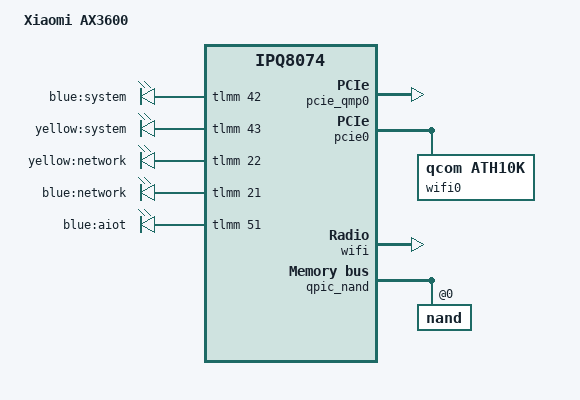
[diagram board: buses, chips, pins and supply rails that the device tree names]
// SPDX-License-Identifier: GPL-2.0-or-later OR MIT
/* Copyright (c) 2021, Robert Marko <robimarko@gmail.com> */

/dts-v1/;

#include "ipq8071-ax3600.dtsi"

/ {
	model = "Xiaomi AX3600";
	compatible = "xiaomi,ax3600", "qcom,ipq8074";

	aliases {
		/* Aliases as required by u-boot to patch MAC addresses */
		ethernet1 = &dp2;
		ethernet2 = &dp3;
		ethernet3 = &dp4;
		ethernet4 = &dp5;
	};

	chosen {
		bootargs-append = " root=/dev/ubiblock0_1";
	};

	leds {
		compatible = "gpio-leds";

		led_system_blue: system-blue {
			label = "blue:system";
			gpios = <&tlmm 42 GPIO_ACTIVE_HIGH>;
		};

		led_system_yellow: system-yellow {
			label = "yellow:system";
			gpios = <&tlmm 43 GPIO_ACTIVE_HIGH>;
		};

		network-yellow {
			label = "yellow:network";
			gpios = <&tlmm 22 GPIO_ACTIVE_HIGH>;
		};

		network-blue {
			label = "blue:network";
			gpios = <&tlmm 21 GPIO_ACTIVE_HIGH>;
		};

		aiot {
			label = "blue:aiot";
			gpios = <&tlmm 51 GPIO_ACTIVE_HIGH>;
			linux,default-trigger = "phy0tpt";
		};
	};
};

&pcie_qmp0 {
	status = "okay";
};

&pcie0 {
	status = "okay";

	perst-gpio = <&tlmm 52 GPIO_ACTIVE_HIGH>;

	bridge@0,0 {
		reg = <0x00000000 0 0 0 0>;
		#address-cells = <3>;
		#size-cells = <2>;
		ranges;

		wifi0: wifi@1,0 {
			status = "okay";

			compatible = "qcom,ath10k";
			reg = <0x00010000 0 0 0 0>;

			qcom,ath10k-calibration-variant = "Xiaomi-AX3600";
			nvmem-cell-names = "calibration";
			nvmem-cells = <&caldata_qca9889>;
		};
	};
};

&wifi {
	qcom,ath11k-calibration-variant = "Xiaomi-AX3600";
};

&qpic_nand {
	/delete-node/ partitions;

	nand@0 {
		/delete-node/ partitions;

		partitions {
			compatible = "qcom,smem-part";
		};
	};
};

&dp2 {
	/delete-property/ nvmem-cells;
	/delete-property/ nvmem-cell-names;
};

&dp3 {
	/delete-property/ nvmem-cells;
	/delete-property/ nvmem-cell-names;
};

&dp4 {
	/delete-property/ nvmem-cells;
	/delete-property/ nvmem-cell-names;
};

&dp5 {
	/delete-property/ nvmem-cells;
	/delete-property/ nvmem-cell-names;
};

&wifi0 {
	/delete-property/ nvmem-cells;
	/delete-property/ nvmem-cell-names;
};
